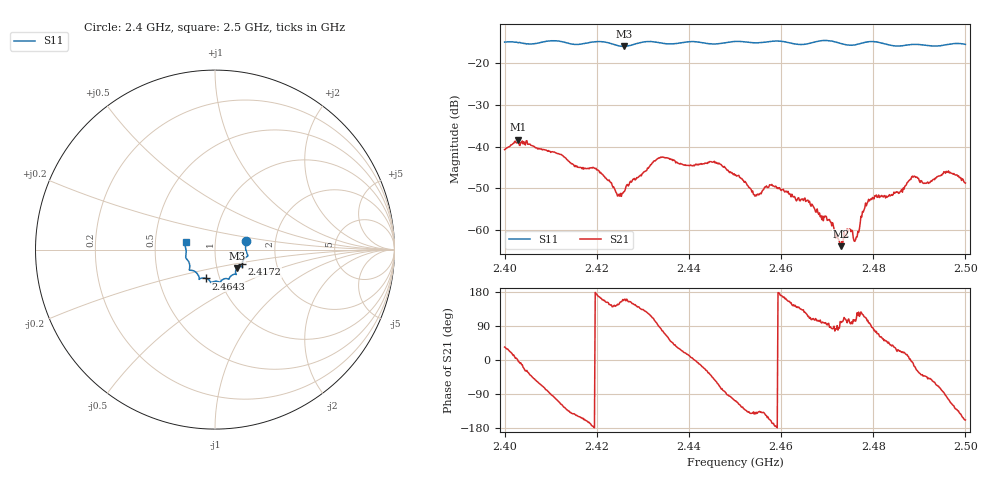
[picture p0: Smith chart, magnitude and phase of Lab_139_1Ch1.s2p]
# Hz S RI R 50
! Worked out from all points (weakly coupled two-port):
!   601 points, 2.4 GHz to 2.5 GHz, reference 50 ohm
!   highest |S21| = -38.31 dB at 2.403 GHz (marker M1); lowest = -63.9 dB at 2.473 GHz (marker M2)
!   lowest |S11| = -15.9 dB at 2.4258 GHz (marker M3), VSWR 1.38, Z = 62.3 - j13.3 ohm
!   |S11| at or under -10 dB: start of sweep to end of sweep
!   S12 and S22 are empty: the file has one direction only
!   S11 on the Smith chart (normalised r, x): 2.4 GHz: 1.41, +0.14; 2.4172 GHz: 1.34, -0.22; 2.4643 GHz: 0.86, -0.28; 2.5 GHz: 0.72, +0.06
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2.4e9  0.1733 0.0485  0.00762 0.00519  0 0  0 0
2.403e9  0.1732 0.0345  0.0121 -0.000939  0 0  0 0
2.416667e9  0.1529 -0.0747  -0.00494 -0.00262  0 0  0 0
2.417167e9  0.152 -0.0804  -0.00495 -0.00208  0 0  0 0
2.425833e9  0.1216 -0.1037  -0.00263 0.00112  0 0  0 0
2.433333e9  0.1129 -0.1371  -0.000154 0.00722  0 0  0 0
2.445333e9  0.0526 -0.1624  0.00431 -0.00494  0 0  0 0
2.45e9  0.0288 -0.1808  -0.00137 -0.00433  0 0  0 0
2.4545e9  0.00602 -0.1761  -0.00207 -0.00161  0 0  0 0
2.458e9  -0.0189 -0.1826  -0.00342 -0.000829  0 0  0 0
2.464333e9  -0.0499 -0.1606  -0.00163 0.00167  0 0  0 0
2.466667e9  -0.0762 -0.1592  -0.000575 0.00196  0 0  0 0
2.470833e9  -0.0878 -0.1637  0.000109 0.00124  0 0  0 0
2.473e9  -0.0911 -0.1468  -9.73e-05 0.000632  0 0  0 0
2.474833e9  -0.1046 -0.1278  -0.0002 0.00101  0 0  0 0
2.476333e9  -0.1196 -0.1179  -0.000275 0.000775  0 0  0 0
2.479333e9  -0.1421 -0.1143  -0.000197 0.0023  0 0  0 0
2.483333e9  -0.1406 -0.0899  0.00172 0.00187  0 0  0 0
2.488833e9  -0.1624 -0.0462  0.00425 -0.00121  0 0  0 0
2.491833e9  -0.1612 -0.0272  0.00242 -0.00288  0 0  0 0
2.496333e9  -0.1678 0.0225  -0.00123 -0.00496  0 0  0 0
2.5e9  -0.1636 0.0424  -0.0034 -0.00135  0 0  0 0
